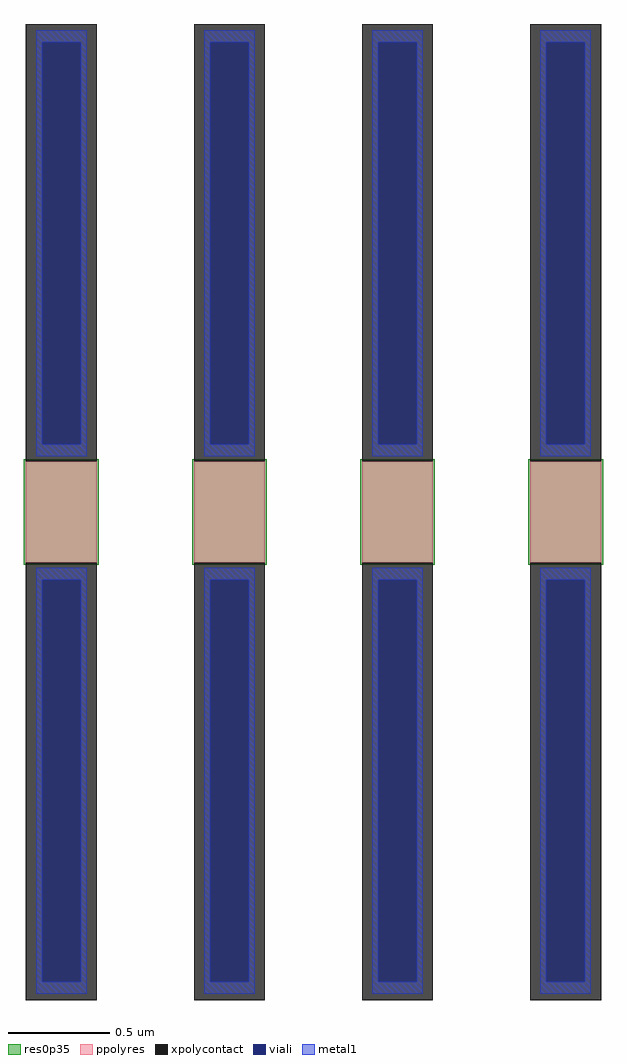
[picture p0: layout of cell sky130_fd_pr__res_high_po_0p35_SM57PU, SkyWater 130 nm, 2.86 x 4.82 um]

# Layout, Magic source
magic
tech sky130A
magscale 1 2
<< xpolycontact >>
rect -284 50 -214 482
rect -284 -482 -214 -50
rect -118 50 -48 482
rect -118 -482 -48 -50
rect 48 50 118 482
rect 48 -482 118 -50
rect 214 50 284 482
rect 214 -482 284 -50
<< ppolyres >>
rect -284 -50 -214 50
rect -118 -50 -48 50
rect 48 -50 118 50
rect 214 -50 284 50
<< viali >>
rect -268 67 -230 464
rect -102 67 -64 464
rect 64 67 102 464
rect 230 67 268 464
rect -268 -464 -230 -67
rect -102 -464 -64 -67
rect 64 -464 102 -67
rect 230 -464 268 -67
<< metal1 >>
rect -274 464 -224 476
rect -274 67 -268 464
rect -230 67 -224 464
rect -274 55 -224 67
rect -108 464 -58 476
rect -108 67 -102 464
rect -64 67 -58 464
rect -108 55 -58 67
rect 58 464 108 476
rect 58 67 64 464
rect 102 67 108 464
rect 58 55 108 67
rect 224 464 274 476
rect 224 67 230 464
rect 268 67 274 464
rect 224 55 274 67
rect -274 -67 -224 -55
rect -274 -464 -268 -67
rect -230 -464 -224 -67
rect -274 -476 -224 -464
rect -108 -67 -58 -55
rect -108 -464 -102 -67
rect -64 -464 -58 -67
rect -108 -476 -58 -464
rect 58 -67 108 -55
rect 58 -464 64 -67
rect 102 -464 108 -67
rect 58 -476 108 -464
rect 224 -67 274 -55
rect 224 -464 230 -67
rect 268 -464 274 -67
rect 224 -476 274 -464
<< res0p35 >>
rect -286 -52 -212 52
rect -120 -52 -46 52
rect 46 -52 120 52
rect 212 -52 286 52
<< properties >>
string gencell sky130_fd_pr__res_high_po_0p35
string library sky130
string parameters w 0.35 l 0.5 m 1 nx 4 wmin 0.350 lmin 0.50 rho 319.8 val 1.57k dummy 0 dw 0.0 term 194.82 sterm 0.0 caplen 0 guard 0 glc 1 grc 1 gtc 1 gbc 1 compatible {sky130_fd_pr__res_high_po_0p35  sky130_fd_pr__res_high_po_0p69 sky130_fd_pr__res_high_po_1p41  sky130_fd_pr__res_high_po_2p85 sky130_fd_pr__res_high_po_5p73} snake 0 full_metal 1 wmax 0.350 vias 1 n_guard 0 hv_guard 0 viagb 0 viagt 0 viagl 0 viagr 0
<< end >>
